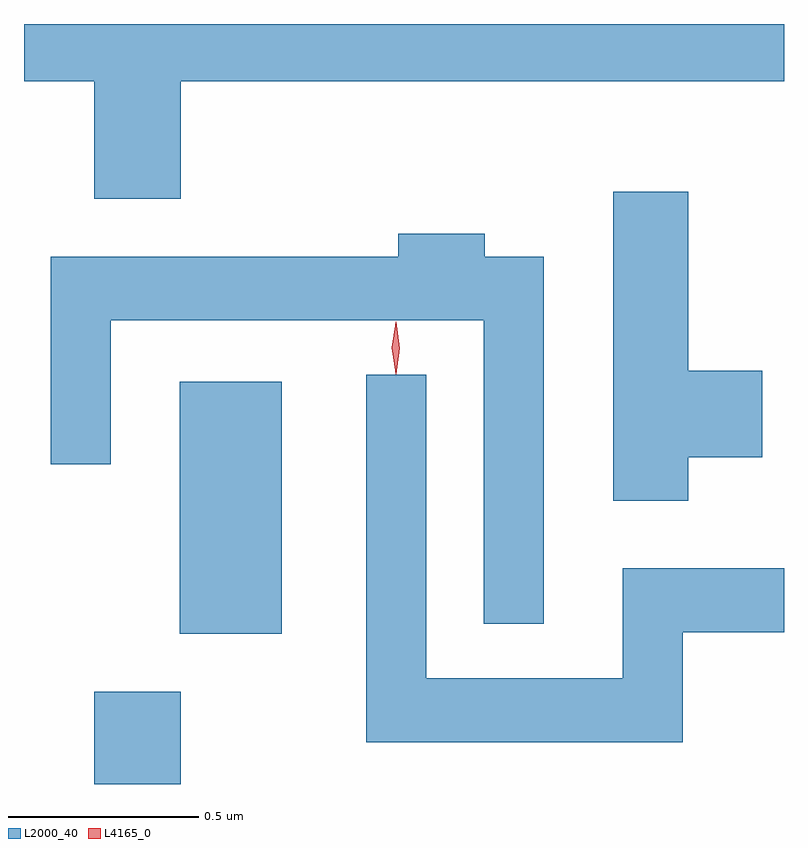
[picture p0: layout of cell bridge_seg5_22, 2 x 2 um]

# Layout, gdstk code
import gdstk
lib = gdstk.Library(unit=1e-6, precision=1e-09)
def R(c, l, rs):  # rectangles x0, y0, x1, y1
    for r in rs: c.add(gdstk.rectangle(r[:2], r[2:], *l))
def P(c, l, *ps):  # polygons
    for p in ps: c.add(gdstk.Polygon(p, *l))
L2000_40 = (2000, 40)
L4165_0 = (4165, 0)

bridge_seg5_22 = lib.new_cell('bridge_seg5_22')
R(bridge_seg5_22, L2000_40, [(1263.991,1474.926,1264.219,1475.169), (1264.216,1475.321,1264.484,1475.984)])
P(bridge_seg5_22, L2000_40, [(1264.219,1476.776),(1265.806,1476.776),(1265.806,1476.926),(1263.806,1476.926),(1263.806,1476.776),(1263.991,1476.776),(1263.991,1476.466),(1264.219,1476.466)],
  [(1265.554,1475.786),(1265.749,1475.786),(1265.749,1476.014),(1265.554,1476.014),(1265.554,1476.484),(1265.356,1476.484),(1265.356,1475.671),(1265.554,1475.671)],
  [(1265.174,1476.314),(1265.019,1476.314),(1265.019,1476.374),(1264.791,1476.374),(1264.791,1476.314),(1263.876,1476.314),(1263.876,1475.768),(1264.034,1475.768),(1264.034,1476.146),(1265.016,1476.146),(1265.016,1475.348),(1265.174,1475.348)],
  [(1265.539,1475.326),(1265.806,1475.326),(1265.806,1475.494),(1265.381,1475.494),(1265.381,1475.204),(1264.864,1475.204),(1264.864,1476.003),(1264.706,1476.003),(1264.706,1475.036),(1265.539,1475.036)])
P(bridge_seg5_22, L4165_0, [(1264.784,1476.004),(1264.775,1476.073),(1264.784,1476.142),(1264.785,1476.143),(1264.785,1476.142),(1264.795,1476.073),(1264.785,1476.004),(1264.785,1476.004)],
  [(1264.784,1476.007),(1264.784,1476.007),(1264.774,1476.074),(1264.784,1476.14),(1264.784,1476.14),(1264.785,1476.14),(1264.794,1476.074),(1264.785,1476.007)])

lib.write_gds('bridge_seg5_22.gds')
